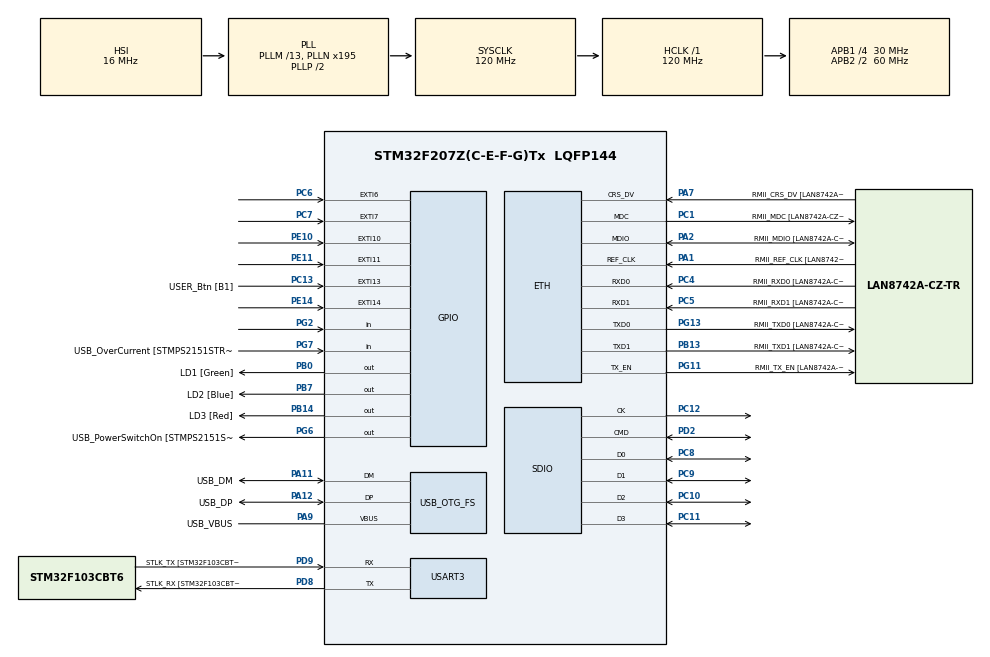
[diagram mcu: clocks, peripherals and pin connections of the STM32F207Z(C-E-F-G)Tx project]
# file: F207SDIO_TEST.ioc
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Dma.Request0=SDIO_TX
Dma.Request1=SDIO_RX
Dma.SDIO_RX.1.Direction=DMA_PERIPH_TO_MEMORY
Dma.SDIO_RX.1.FIFOMode=DMA_FIFOMODE_ENABLE
Dma.SDIO_RX.1.FIFOThreshold=DMA_FIFO_THRESHOLD_FULL
Dma.SDIO_RX.1.Instance=DMA2_Stream3
Dma.SDIO_RX.1.MemBurst=DMA_MBURST_INC4
Dma.SDIO_RX.1.MemDataAlignment=DMA_MDATAALIGN_WORD
Dma.SDIO_RX.1.MemInc=DMA_MINC_ENABLE
Dma.SDIO_RX.1.Mode=DMA_PFCTRL
Dma.SDIO_RX.1.PeriphBurst=DMA_PBURST_INC4
Dma.SDIO_RX.1.PeriphDataAlignment=DMA_PDATAALIGN_WORD
Dma.SDIO_RX.1.PeriphInc=DMA_PINC_DISABLE
Dma.SDIO_RX.1.Priority=DMA_PRIORITY_LOW
Dma.SDIO_TX.0.Direction=DMA_MEMORY_TO_PERIPH
Dma.SDIO_TX.0.FIFOMode=DMA_FIFOMODE_ENABLE
Dma.SDIO_TX.0.FIFOThreshold=DMA_FIFO_THRESHOLD_FULL
Dma.SDIO_TX.0.Instance=DMA2_Stream6
Dma.SDIO_TX.0.MemBurst=DMA_MBURST_INC4
Dma.SDIO_TX.0.MemDataAlignment=DMA_MDATAALIGN_WORD
Dma.SDIO_TX.0.MemInc=DMA_MINC_ENABLE
Dma.SDIO_TX.0.Mode=DMA_PFCTRL
Dma.SDIO_TX.0.PeriphBurst=DMA_PBURST_INC4
Dma.SDIO_TX.0.PeriphDataAlignment=DMA_PDATAALIGN_WORD
Dma.SDIO_TX.0.PeriphInc=DMA_PINC_DISABLE
Dma.SDIO_TX.0.Priority=DMA_PRIORITY_LOW
ETH.MediaInterface=ETH_MEDIA_INTERFACE_RMII
ETH.PHY_Name=LAN8742A_PHY_ADDRESS
ETH.PHY_Value=0
ETH.PhyAddress=0
FATFS.BSP.number=1
FATFS0.BSP.STBoard=false
FATFS0.BSP.api=Unknown
FATFS0.BSP.i2caddr=0
FATFS0.BSP.instance=PG2
FATFS0.BSP.ip=GPIO
FATFS0.BSP.mode=Input
FATFS0.BSP.name=Detect_SDIO
FATFS0.BSP.solution=PG2
Mcu.Family=STM32F2
Mcu.Name=STM32F207Z(C-E-F-G)Tx
Mcu.Package=LQFP144
NVIC.DMA2_Stream3_IRQn=true\:6\:0\:true\:false\:true\:false\:true
NVIC.DMA2_Stream6_IRQn=true\:6\:0\:true\:false\:true\:false\:true
NVIC.EXTI15_10_IRQn=true\:0\:0\:false\:false\:true\:true\:true
NVIC.EXTI9_5_IRQn=true\:0\:0\:false\:false\:true\:true\:true
NVIC.OTG_FS_IRQn=true\:0\:0\:false\:false\:true\:false\:true
NVIC.PriorityGroup=NVIC_PRIORITYGROUP_4
NVIC.SDIO_IRQn=true\:5\:0\:true\:false\:true\:true\:true
PA1.GPIO_Label=RMII_REF_CLK [LAN8742A-CZ-TR_REFCLK0]
PA1.Mode=RMII
PA1.Signal=ETH_REF_CLK
PA10.GPIO_Label=USB_ID
PA10.Signal=USB_OTG_FS_ID
PA11.GPIO_Label=USB_DM
PA11.Mode=Device_Only
PA11.Signal=USB_OTG_FS_DM
PA12.GPIO_Label=USB_DP
PA12.Mode=Device_Only
PA12.Signal=USB_OTG_FS_DP
PA13.GPIO_Label=TMS
PA13.Mode=Trace_Asynchronous_SW
PA13.Signal=SYS_JTMS-SWDIO
PA14.GPIO_Label=TCK
PA14.Mode=Trace_Asynchronous_SW
PA14.Signal=SYS_JTCK-SWCLK
PA2.GPIO_Label=RMII_MDIO [LAN8742A-CZ-TR_MDIO]
PA2.Mode=RMII
PA2.Signal=ETH_MDIO
PA7.GPIO_Label=RMII_CRS_DV [LAN8742A-CZ-TR_CRS_DV]
PA7.Mode=RMII
PA7.Signal=ETH_CRS_DV
PA8.GPIO_Label=USB_SOF [TP1]
PA8.Signal=USB_OTG_FS_SOF
PA9.GPIO_Label=USB_VBUS
PA9.Mode=Activate_VBUS
PA9.Signal=USB_OTG_FS_VBUS
PB0.GPIO_Label=LD1 [Green]
PB0.Signal=GPIO_Output
PB13.GPIO_Label=RMII_TXD1 [LAN8742A-CZ-TR_TXD1]
PB13.Mode=RMII
PB13.Signal=ETH_TXD1
PB14.GPIO_Label=LD3 [Red]
PB14.Signal=GPIO_Output
PB3.GPIO_Label=SWO
PB3.Mode=Trace_Asynchronous_SW
PB3.Signal=SYS_JTDO-SWO
PB7.GPIO_Label=LD2 [Blue]
PB7.Signal=GPIO_Output
PC1.GPIO_Label=RMII_MDC [LAN8742A-CZ-TR_MDC]
PC1.Mode=RMII
PC1.Signal=ETH_MDC
PC10.Mode=SD_4_bits_Wide_bus
PC10.Signal=SDIO_D2
PC11.Mode=SD_4_bits_Wide_bus
PC11.Signal=SDIO_D3
PC12.Mode=SD_4_bits_Wide_bus
PC12.Signal=SDIO_CK
PC13.GPIO_Label=USER_Btn [B1]
PC13.Signal=GPXTI13
PC14-OSC32_IN.Mode=LSE-External-Oscillator
PC14-OSC32_IN.Signal=RCC_OSC32_IN
PC15-OSC32_OUT.Mode=LSE-External-Oscillator
PC15-OSC32_OUT.Signal=RCC_OSC32_OUT
PC4.GPIO_Label=RMII_RXD0 [LAN8742A-CZ-TR_RXD0]
PC4.Mode=RMII
PC4.Signal=ETH_RXD0
PC5.GPIO_Label=RMII_RXD1 [LAN8742A-CZ-TR_RXD1]
PC5.Mode=RMII
PC5.Signal=ETH_RXD1
PC6.Signal=GPXTI6
PC7.Signal=GPXTI7
PC8.Mode=SD_4_bits_Wide_bus
PC8.Signal=SDIO_D0
PC9.Mode=SD_4_bits_Wide_bus
PC9.Signal=SDIO_D1
PD2.Mode=SD_4_bits_Wide_bus
PD2.Signal=SDIO_CMD
PD8.GPIO_Label=STLK_RX [STM32F103CBT6_PA3]
PD8.Mode=Asynchronous
PD8.Signal=USART3_TX
PD9.GPIO_Label=STLK_TX [STM32F103CBT6_PA2]
PD9.Mode=Asynchronous
PD9.Signal=USART3_RX
PE10.Signal=GPXTI10
PE11.Signal=GPXTI11
PE14.Signal=GPXTI14
PG11.GPIO_Label=RMII_TX_EN [LAN8742A-CZ-TR_TXEN]
PG11.Mode=RMII
PG11.Signal=ETH_TX_EN
PG13.GPIO_Label=RMII_TXD0 [LAN8742A-CZ-TR_TXD0]
PG13.Mode=RMII
PG13.Signal=ETH_TXD0
PG2.GPIO_PuPd=GPIO_PULLUP
PG2.Signal=GPIO_Input
PG6.GPIO_Label=USB_PowerSwitchOn [STMPS2151STR_EN]
PG6.Signal=GPIO_Output
PG7.GPIO_Label=USB_OverCurrent [STMPS2151STR_FAULT]
PG7.Signal=GPIO_Input
PH0-OSC_IN.GPIO_Label=MCO [STM32F103CBT6_PA8]
PH0-OSC_IN.Mode=HSE-External-Clock-Source
PH0-OSC_IN.Signal=RCC_OSC_IN
PH1-OSC_OUT.Mode=HSE-External-Clock-Source
PH1-OSC_OUT.Signal=RCC_OSC_OUT
ProjectManager.HeapSize=0x200
ProjectManager.StackSize=0x400
ProjectManager.TargetToolchain=STM32CubeIDE
RCC.48MHZClocksFreq_Value=48000000
RCC.AHBFreq_Value=120000000
RCC.APB1CLKDivider=RCC_HCLK_DIV4
RCC.APB1Freq_Value=30000000
RCC.APB1TimFreq_Value=60000000
RCC.APB2CLKDivider=RCC_HCLK_DIV2
RCC.APB2Freq_Value=60000000
RCC.APB2TimFreq_Value=120000000
RCC.CortexFreq_Value=120000000
RCC.HCLKFreq_Value=120000000
RCC.HSE_VALUE=8000000
RCC.HSI_VALUE=16000000
RCC.PLLM=13
RCC.PLLMUL=RCC_PLL_MUL9
RCC.PLLN=195
RCC.PLLQ=5
RCC.PRESCALERUSB=RCC_USBCLKSOURCE_PLL_DIV1_5
RCC.SYSCLKFreq_VALUE=120000000
RCC.SYSCLKSource=RCC_SYSCLKSOURCE_PLLCLK
RCC.SYSCLKSourceVirtual=RCC_SYSCLKSOURCE_PLLCLK
RCC.USBFreq_Value=48000000
RCC.VCOOutputFreq_Value=240000000
SDIO.ClockBypass=SDIO_CLOCK_BYPASS_DISABLE
SDIO.ClockDiv=10
SDIO.HardwareFlowControl=SDIO_HARDWARE_FLOW_CONTROL_DISABLE
USART3.VirtualMode=VM_ASYNC
USB_DEVICE.APP_RX_DATA_SIZE-CDC_FS=300
USB_DEVICE.APP_TX_DATA_SIZE-CDC_FS=300
USB_DEVICE.CLASS_NAME_FS=CDC
USB_DEVICE.USBD_DEBUG_LEVEL-CDC_FS=0
USB_DEVICE.USBD_SELF_POWERED-CDC_FS=0
USB_DEVICE.VirtualMode-CDC_FS=Cdc
USB_DEVICE.VirtualModeFS=Cdc_FS
USB_OTG_FS.VirtualMode=Device_Only
VP_FATFS_VS_SDIO.Mode=SDIO
VP_USB_DEVICE_VS_USB_DEVICE_CDC_FS.Mode=CDC_FS
board=custom

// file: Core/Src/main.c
/* USER CODE BEGIN Header */
/**
 ******************************************************************************
 * @file           : main.c
 * @brief          : Main program body
 ******************************************************************************
 * @attention
 *
 * <h2><center>&copy; Copyright (c) 2020 STMicroelectronics.
 * All rights reserved.</center></h2>
 *
 * This software component is licensed by ST under BSD 3-Clause license,
 * the "License"; You may not use this file except in compliance with the
 * License. You may obtain a copy of the License at:
 *                        opensource.org/licenses/BSD-3-Clause
 *
 ******************************************************************************
 */
/* USER CODE END Header */
#include "main.h"
#include "fatfs.h"
#include "usb_device.h"

ETH_HandleTypeDef heth;

SD_HandleTypeDef hsd;
DMA_HandleTypeDef hdma_sdio_tx;
DMA_HandleTypeDef hdma_sdio_rx;

UART_HandleTypeDef huart3;

void SystemClock_Config(void);
static void MX_GPIO_Init(void);
static void MX_DMA_Init(void);
static void MX_ETH_Init(void);
static void MX_USART3_UART_Init(void);
static void MX_SDIO_SD_Init(void);

/* USER CODE BEGIN 0 */
void HAL_GPIO_EXTI_Callback(uint16_t GPIO_Pin) {
	switch (GPIO_Pin) {
	case GPIO_PIN_6:
		ITM_SendChar('6');
		ITM_SendChar('\r');
		ITM_SendChar('\n');
		break;
	case GPIO_PIN_7:
		ITM_SendChar('7');
		ITM_SendChar('\r');
		ITM_SendChar('\n');
		break;
	case GPIO_PIN_10:
		HAL_GPIO_TogglePin(GPIOB, GPIO_PIN_7);
		break;
	case GPIO_PIN_11:
		HAL_GPIO_TogglePin(GPIOB, GPIO_PIN_0);
		break;
	case GPIO_PIN_14:
		HAL_GPIO_TogglePin(GPIOB, GPIO_PIN_14);
		break;
	}
}

void ITM_SendStr(char* str)
{
	while(*str)
	{
		ITM_SendChar(*str);
		str++;
	}
}

/* USER CODE END 0 */

int main(void)
{

  /* MCU Configuration--------------------------------------------------------*/

  /* Reset of all peripherals, Initializes the Flash interface and the Systick. */
  HAL_Init();

  /* Configure the system clock */
  SystemClock_Config();

  /* Initialize all configured peripherals */
  MX_GPIO_Init();
  MX_DMA_Init();
  MX_ETH_Init();
  MX_USART3_UART_Init();
  MX_USB_DEVICE_Init();
  MX_SDIO_SD_Init();
  MX_FATFS_Init();
  /* USER CODE BEGIN 2 */
  HAL_Delay(100);
	DIR dp;
	FIL temp;
	FILINFO fnp;
	char buf[100];
	volatile int res;
	res=f_mount(&SDFatFS, SDPath, 1);
	sprintf(buf,"f_mount res=%d\r\n",res);
	ITM_SendStr(buf);
	res=f_open(&temp, "WriteTest.txt", FA_WRITE|FA_CREATE_ALWAYS);

	char tmp[]="Good Day YOUTUBE! ?��맙니?��. ?�� ?��?��?? ?��?��?��?��?��!\r\n"
			"A.K.A ?�� �? ?�� ?��께서 ?���? ?��별한 컨텐츠�?? 진행?��?���? ?��?��?��!\\r\n"
			"?�� 그러�? ?��?��?�� 컨텐�?! ?��?��?��?��?��?�� 곱등?�� ?���? 먹방?��?��?��!!!!\r\n"
			"춤춰?��!\r\n";

	f_write(&temp, tmp, strlen(tmp), &res);
	f_close(&temp);

  /* USER CODE END 2 */

  /* Infinite loop */
	while (1) {

    /* USER CODE BEGIN 3 */
		HAL_GPIO_WritePin(GPIOG, GPIO_PIN_6, SET);
		HAL_Delay(30);
		HAL_GPIO_WritePin(GPIOG, GPIO_PIN_6, RESET);
		HAL_Delay(470);
		//ITM_SendChar('x');

	}
  /* USER CODE END 3 */
}

void SystemClock_Config(void)
{
  RCC_OscInitTypeDef RCC_OscInitStruct = {0};
  RCC_ClkInitTypeDef RCC_ClkInitStruct = {0};

  /** Initializes the RCC Oscillators according to the specified parameters
  * in the RCC_OscInitTypeDef structure.
  */
  RCC_OscInitStruct.OscillatorType = RCC_OSCILLATORTYPE_HSI;
  RCC_OscInitStruct.HSIState = RCC_HSI_ON;
  RCC_OscInitStruct.HSICalibrationValue = RCC_HSICALIBRATION_DEFAULT;
  RCC_OscInitStruct.PLL.PLLState = RCC_PLL_ON;
  RCC_OscInitStruct.PLL.PLLSource = RCC_PLLSOURCE_HSI;
  RCC_OscInitStruct.PLL.PLLM = 13;
  RCC_OscInitStruct.PLL.PLLN = 195;
  RCC_OscInitStruct.PLL.PLLP = RCC_PLLP_DIV2;
  RCC_OscInitStruct.PLL.PLLQ = 5;
  if (HAL_RCC_OscConfig(&RCC_OscInitStruct) != HAL_OK)
  {
    Error_Handler();
  }
  /** Initializes the CPU, AHB and APB buses clocks
  */
  RCC_ClkInitStruct.ClockType = RCC_CLOCKTYPE_HCLK|RCC_CLOCKTYPE_SYSCLK
                              |RCC_CLOCKTYPE_PCLK1|RCC_CLOCKTYPE_PCLK2;
  RCC_ClkInitStruct.SYSCLKSource = RCC_SYSCLKSOURCE_PLLCLK;
  RCC_ClkInitStruct.AHBCLKDivider = RCC_SYSCLK_DIV1;
  RCC_ClkInitStruct.APB1CLKDivider = RCC_HCLK_DIV4;
  RCC_ClkInitStruct.APB2CLKDivider = RCC_HCLK_DIV2;

  if (HAL_RCC_ClockConfig(&RCC_ClkInitStruct, FLASH_LATENCY_3) != HAL_OK)
  {
    Error_Handler();
  }
}

static void MX_ETH_Init(void)
{

  heth.Instance = ETH;
  heth.Init.AutoNegotiation = ETH_AUTONEGOTIATION_ENABLE;
  heth.Init.Speed = ETH_SPEED_100M;
  heth.Init.DuplexMode = ETH_MODE_FULLDUPLEX;
  heth.Init.PhyAddress = LAN8742A_PHY_ADDRESS;
  heth.Init.MACAddr[0] =   0x00;
  heth.Init.MACAddr[1] =   0x80;
  heth.Init.MACAddr[2] =   0xE1;
  heth.Init.MACAddr[3] =   0x00;
  heth.Init.MACAddr[4] =   0x00;
  heth.Init.MACAddr[5] =   0x00;
  heth.Init.RxMode = ETH_RXPOLLING_MODE;
  heth.Init.ChecksumMode = ETH_CHECKSUM_BY_HARDWARE;
  heth.Init.MediaInterface = ETH_MEDIA_INTERFACE_RMII;

  if (HAL_ETH_Init(&heth) != HAL_OK)
  {
    Error_Handler();
  }

}

static void MX_SDIO_SD_Init(void)
{

  hsd.Instance = SDIO;
  hsd.Init.ClockEdge = SDIO_CLOCK_EDGE_RISING;
  hsd.Init.ClockBypass = SDIO_CLOCK_BYPASS_DISABLE;
  hsd.Init.ClockPowerSave = SDIO_CLOCK_POWER_SAVE_DISABLE;
  hsd.Init.BusWide = SDIO_BUS_WIDE_1B;
  hsd.Init.HardwareFlowControl = SDIO_HARDWARE_FLOW_CONTROL_DISABLE;
  hsd.Init.ClockDiv = 10;

}

static void MX_USART3_UART_Init(void)
{

  huart3.Instance = USART3;
  huart3.Init.BaudRate = 115200;
  huart3.Init.WordLength = UART_WORDLENGTH_8B;
  huart3.Init.StopBits = UART_STOPBITS_1;
  huart3.Init.Parity = UART_PARITY_NONE;
  huart3.Init.Mode = UART_MODE_TX_RX;
  huart3.Init.HwFlowCtl = UART_HWCONTROL_NONE;
  huart3.Init.OverSampling = UART_OVERSAMPLING_16;
  if (HAL_UART_Init(&huart3) != HAL_OK)
  {
    Error_Handler();
  }

}

static void MX_DMA_Init(void)
{

  /* DMA controller clock enable */
  __HAL_RCC_DMA2_CLK_ENABLE();

  /* DMA interrupt init */
  /* DMA2_Stream3_IRQn interrupt configuration */
  HAL_NVIC_SetPriority(DMA2_Stream3_IRQn, 6, 0);
  HAL_NVIC_EnableIRQ(DMA2_Stream3_IRQn);
  /* DMA2_Stream6_IRQn interrupt configuration */
  HAL_NVIC_SetPriority(DMA2_Stream6_IRQn, 6, 0);
  HAL_NVIC_EnableIRQ(DMA2_Stream6_IRQn);

}

static void MX_GPIO_Init(void)
{
  GPIO_InitTypeDef GPIO_InitStruct = {0};

  /* GPIO Ports Clock Enable */
  __HAL_RCC_GPIOC_CLK_ENABLE();
  __HAL_RCC_GPIOH_CLK_ENABLE();
  __HAL_RCC_GPIOA_CLK_ENABLE();
  __HAL_RCC_GPIOB_CLK_ENABLE();
  __HAL_RCC_GPIOE_CLK_ENABLE();
  __HAL_RCC_GPIOD_CLK_ENABLE();
  __HAL_RCC_GPIOG_CLK_ENABLE();

  /*Configure GPIO pin Output Level */
  HAL_GPIO_WritePin(GPIOB, LD1_Pin|LD3_Pin|LD2_Pin, GPIO_PIN_RESET);

  /*Configure GPIO pin Output Level */
  HAL_GPIO_WritePin(USB_PowerSwitchOn_GPIO_Port, USB_PowerSwitchOn_Pin, GPIO_PIN_RESET);

  /*Configure GPIO pins : USER_Btn_Pin PC6 PC7 */
  GPIO_InitStruct.Pin = USER_Btn_Pin|GPIO_PIN_6|GPIO_PIN_7;
  GPIO_InitStruct.Mode = GPIO_MODE_IT_RISING;
  GPIO_InitStruct.Pull = GPIO_NOPULL;
  HAL_GPIO_Init(GPIOC, &GPIO_InitStruct);

  /*Configure GPIO pins : LD1_Pin LD3_Pin LD2_Pin */
  GPIO_InitStruct.Pin = LD1_Pin|LD3_Pin|LD2_Pin;
  GPIO_InitStruct.Mode = GPIO_MODE_OUTPUT_PP;
  GPIO_InitStruct.Pull = GPIO_NOPULL;
  GPIO_InitStruct.Speed = GPIO_SPEED_FREQ_LOW;
  HAL_GPIO_Init(GPIOB, &GPIO_InitStruct);

  /*Configure GPIO pins : PE10 PE11 PE14 */
  GPIO_InitStruct.Pin = GPIO_PIN_10|GPIO_PIN_11|GPIO_PIN_14;
  GPIO_InitStruct.Mode = GPIO_MODE_IT_RISING;
  GPIO_InitStruct.Pull = GPIO_NOPULL;
  HAL_GPIO_Init(GPIOE, &GPIO_InitStruct);

  /*Configure GPIO pin : PG2 */
  GPIO_InitStruct.Pin = GPIO_PIN_2;
  GPIO_InitStruct.Mode = GPIO_MODE_INPUT;
  GPIO_InitStruct.Pull = GPIO_PULLUP;
  HAL_GPIO_Init(GPIOG, &GPIO_InitStruct);

  /*Configure GPIO pin : USB_PowerSwitchOn_Pin */
  GPIO_InitStruct.Pin = USB_PowerSwitchOn_Pin;
  GPIO_InitStruct.Mode = GPIO_MODE_OUTPUT_PP;
  GPIO_InitStruct.Pull = GPIO_NOPULL;
  GPIO_InitStruct.Speed = GPIO_SPEED_FREQ_LOW;
  HAL_GPIO_Init(USB_PowerSwitchOn_GPIO_Port, &GPIO_InitStruct);

  /*Configure GPIO pin : USB_OverCurrent_Pin */
  GPIO_InitStruct.Pin = USB_OverCurrent_Pin;
  GPIO_InitStruct.Mode = GPIO_MODE_INPUT;
  GPIO_InitStruct.Pull = GPIO_NOPULL;
  HAL_GPIO_Init(USB_OverCurrent_GPIO_Port, &GPIO_InitStruct);

  /* EXTI interrupt init*/
  HAL_NVIC_SetPriority(EXTI9_5_IRQn, 0, 0);
  HAL_NVIC_EnableIRQ(EXTI9_5_IRQn);

  HAL_NVIC_SetPriority(EXTI15_10_IRQn, 0, 0);
  HAL_NVIC_EnableIRQ(EXTI15_10_IRQn);

}

void Error_Handler(void)
{
}

/************************ (C) COPYRIGHT STMicroelectronics *****END OF FILE****/
